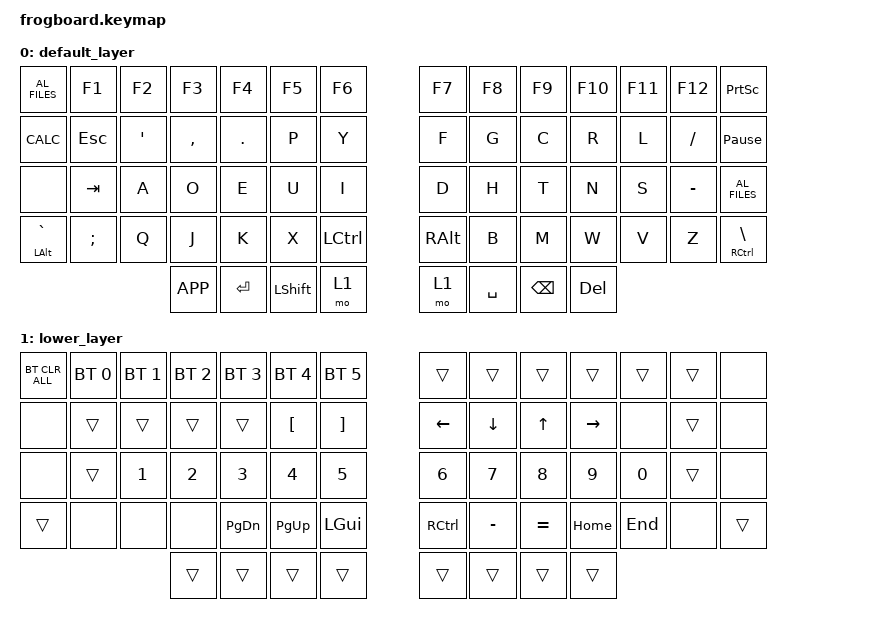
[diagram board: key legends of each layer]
#include <behaviors.dtsi>
#include <dt-bindings/zmk/keys.h>
#include <dt-bindings/zmk/bt.h>

/ {
    keymap {
        compatible = "zmk,keymap";

        default_layer {
// --------------------------------------------------------------------------------------------------------------------------------------------------------------------
//          |    1    |    2    |    3    |    4    |    5    |    6    |                      |    7    |    8    |    9    |    0    |    1    |    2    |
//          |         |    '"   |    ,<   |    .>   |    P    |    Y    |                      |    F    |    G    |    C    |    R    |    L    |    \    |
//          |   TAB   |    A    |    O    |    E    |    U    |    I    |                      |    D    |    H    |    T    |    N    |    S    |         |
//          |    ~    |    ;:   |    Q    |    J    |    K    |    X    |   ALT   |  | BOOTLDR |    B    |    M    |    W    |    V    |    Z    |    /    |
//                                         |         |  SHIFT  |  SPACE  |  |  EFTER  |         |   BSPC  | 
            bindings = <
    &kp C_AL_FILES   &kp F1     &kp F2    &kp F3    &kp F4     &kp F5   &kp F6                           &kp F7    &kp F8   &kp F9    &kp F10     &kp F11   &kp F12        &kp PSCRN
    &kp K_CALC    &kp ESC      &kp SQT   &kp COMMA &kp DOT    &kp P    &kp Y                            &kp F     &kp G     &kp C     &kp R     &kp L    &kp SLASH      &kp PAUSE_BREAK
    &none    &kp TAB    &kp A     &kp O     &kp E      &kp U    &kp I                            &kp D     &kp H     &kp T     &kp N     &kp S    &kp MINUS        &kp C_AL_FILES
             &mt LALT GRAVE  &kp SEMI  &kp Q   &kp J    &kp K    &kp X      &kp LCTRL   &kp RALT  &kp B     &kp M     &kp W     &kp V     &kp Z    &mt RCTRL BSLH 
                                       &kp K_APP     &kp ENTER &kp LSHIFT &mo 1       &mo 1     &kp SPC   &kp BSPC            &kp DEL 
            >;

        };
        lower_layer {
// --------------------------------------------------------------------------------------------------------------------------------------------------------------------
// |    1    |    2    |    3    |    4    |    5    |    6    |                      |    7    |    8    |    9    |    0    |    1    |    2    |
// |         |    '"   |    ,<   |    .>   |    P    |    Y    |                      |    F    |    G    |    C    |    R    |    L    |    \    |
// |   TAB   |    A    |    O    |    E    |    U    |    I    |                      |    D    |    H    |    T    |    N    |    S    |         |
// |    ~    |    ;:   |    Q    |    J    |    K    |    X    |   ALT   |  | BOOTLDR |    B    |    M    |    W    |    V    |    Z    |    /    |
//                                         |         |  SHIFT  |  SPACE  |  |  ENTER  |         |   BSPC  | 
            bindings = <
     &bt BT_CLR_ALL    &bt BT_SEL 0 &bt BT_SEL 1  &bt BT_SEL 2 &bt BT_SEL 3 &bt BT_SEL 4  &bt BT_SEL 5         &trans &trans     &trans    &trans    &trans   &trans  &none  
     &none    &trans     &trans   &trans    &trans    &kp LBKT  &kp RBKT                        &kp LEFT    &kp DOWN   &kp UP   &kp RIGHT  &none    &trans           &none
     &none    &trans     &kp N1   &kp N2    &kp N3     &kp N4    &kp N5                           &kp N6      &kp N7   &kp N8   &kp N9    &kp N0     &trans          &none
              &trans     &none    &none     &none     &kp PG_DN  &kp PG_UP  &kp LGUI  &kp RCTRL    &kp MINUS   &kp EQUAL    &kp HOME  &kp END     &none    &trans
                                  &trans                 &trans   &trans   &trans     &trans     &trans   &trans             &trans 
            >;

        };
    };
};
